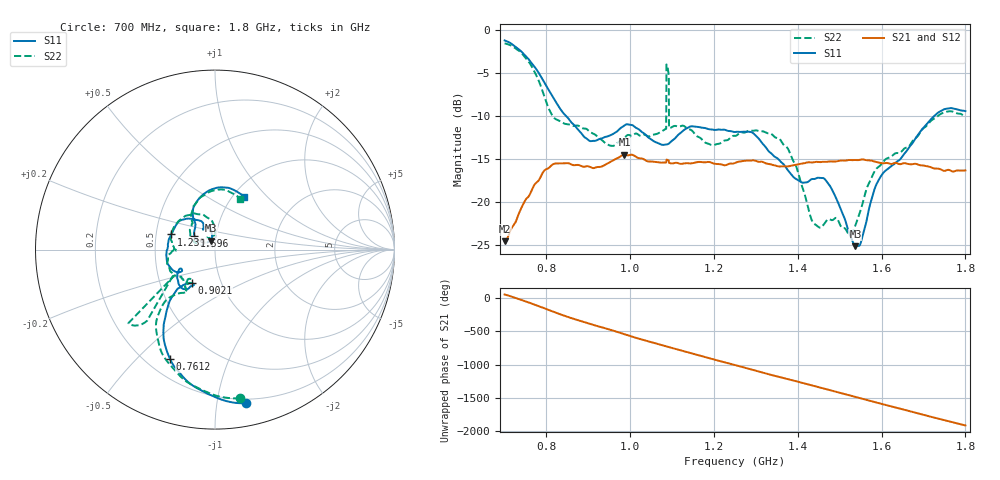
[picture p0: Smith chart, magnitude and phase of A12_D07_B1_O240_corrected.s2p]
! Created with skrf 1.9.0 (http://scikit-rf.org).
# Hz S RI R 50.0
!freq ReS11 ImS11 ReS21 ImS21 ReS12 ImS12 ReS22 ImS22
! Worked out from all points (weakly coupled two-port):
!   1601 points, 700 MHz to 1.8 GHz, reference 50 ohm
!   highest |S21| = -14.49 dB at 986 MHz (marker M1); lowest = -24.6 dB at 700 MHz (marker M2)
!   lowest |S11| = -25.2 dB at 1.537 GHz (marker M3), VSWR 1.12, Z = 47.5 + j4.77 ohm
!   |S11| at or under -10 dB: 847.3 MHz to 1.725 GHz (878 MHz wide, 68.3 % of centre)
!   |S22| runs from -23.9 to -1.5 dB; largest |S21 - S12| = 0.0036
!   S11 on the Smith chart (normalised r, x): 700 MHz: 0.17, -1.21; 761.2 MHz: 0.29, -0.63; 902.1 MHz: 0.72, -0.29; 1.239 GHz: 0.60, +0.11; 1.596 GHz: 0.79, +0.12; 1.8 GHz: 1.13, +0.75
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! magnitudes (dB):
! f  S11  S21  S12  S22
! 700 MHz  -1.2  -24.6  -24.4  -1.5
! 761.2 MHz  -3.6  -19.1  -18.9  -3.9
! 816.9 MHz  -7.9  -15.6  -15.7  -10.1
! 883.6 MHz  -12.0  -15.8  -15.7  -11.4
! 902.1 MHz  -12.9  -15.9  -15.9  -11.8
! 986 MHz  -11.1  -14.5  -14.6  -12.5
! 1.067 GHz  -13.2  -15.4  -15.4  -12.0
! 1.08 GHz  -13.4  -15.4  -15.5  -11.6
! 1.086 GHz  -13.3  -15.1  -15.1  -4.0
! 1.092 GHz  -13.2  -15.2  -15.2  -5.2
! 1.098 GHz  -12.9  -15.5  -15.5  -11.3
! 1.239 GHz  -11.7  -15.5  -15.6  -12.5
! 1.25 GHz  -11.9  -15.5  -15.4  -12.3
! 1.358 GHz  -15.3  -15.9  -15.8  -12.7
! 1.396 GHz  -17.3  -15.7  -15.7  -15.8
! 1.434 GHz  -17.3  -15.4  -15.4  -22.2
! 1.476 GHz  -18.1  -15.3  -15.3  -22.0
! 1.537 GHz  -25.2  -15.1  -15.1  -22.8
! 1.596 GHz  -17.2  -15.4  -15.4  -15.8
! 1.617 GHz  -16.1  -15.5  -15.5  -14.9
! 1.734 GHz  -9.6  -16.1  -16.2  -10.0
! 1.8 GHz  -9.4  -16.3  -16.3  -10.0
